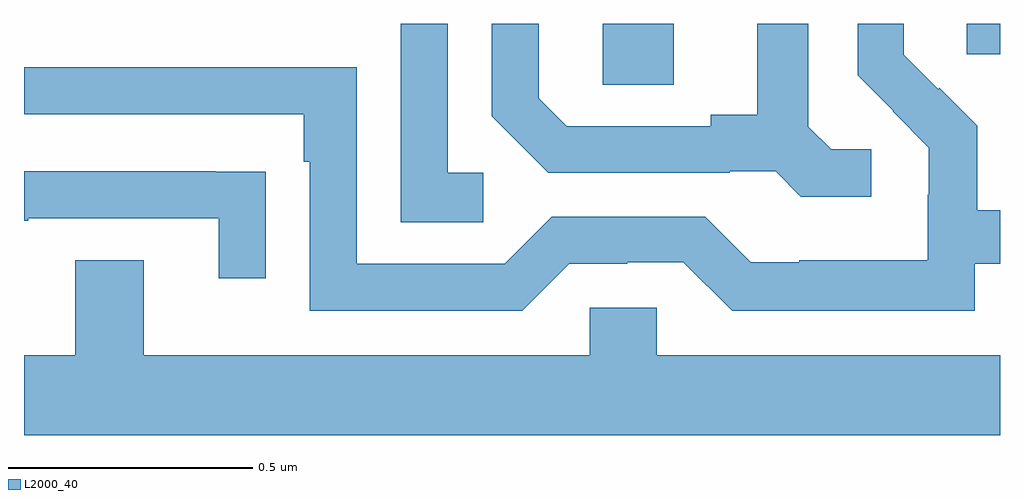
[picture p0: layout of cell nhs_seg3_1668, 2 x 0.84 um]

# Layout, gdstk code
import gdstk
lib = gdstk.Library(unit=1e-6, precision=1e-09)
def R(c, l, rs):  # rectangles x0, y0, x1, y1
    for r in rs: c.add(gdstk.rectangle(r[:2], r[2:], *l))
def P(c, l, *ps):  # polygons
    for p in ps: c.add(gdstk.Polygon(p, *l))
L2000_40 = (2000, 40)

nhs_seg3_1668 = lib.new_cell('nhs_seg3_1668')
R(nhs_seg3_1668, L2000_40, [(132.186,728.275,132.331,728.4), (132.932,728.337,133,728.4)])
P(nhs_seg3_1668, L2000_40, [(132.948,727.908),(133,727.908),(133,728.017),(132.953,728.017),(132.953,728.191),(132.876,728.268),(132.873,728.265),(132.803,728.336),(132.803,728.4),(132.708,728.4),(132.708,728.294),(132.781,728.221),(132.78,728.22),(132.854,728.146),(132.854,728.049),(132.852,728.049),(132.852,727.915),(132.589,727.915),(132.589,727.911),(132.489,727.911),(132.396,728.004),(132.081,728.004),(131.985,727.908),(131.682,727.908),(131.682,728.31),(131,728.31),(131,728.214),(131.573,728.214),(131.573,728.117),(131.586,728.117),(131.586,727.812),(132.021,727.812),(132.117,727.908),(132.236,727.908),(132.236,727.911),(132.351,727.911),(132.451,727.811),(132.948,727.811)],
  [(132.736,728.142),(132.654,728.142),(132.607,728.189),(132.607,728.4),(132.503,728.4),(132.503,728.213),(132.407,728.213),(132.407,728.19),(132.112,728.19),(132.055,728.247),(132.055,728.4),(131.958,728.4),(131.958,728.21),(132.074,728.094),(132.446,728.094),(132.446,728.097),(132.54,728.097),(132.592,728.045),(132.736,728.045)],
  [(131.941,728.094),(131.868,728.094),(131.868,728.4),(131.772,728.4),(131.772,727.993),(131.941,727.993)],
  [(131.495,728.096),(131.393,728.096),(131.393,728.097),(131,728.097),(131,727.996),(131.009,727.996),(131.009,728.001),(131.399,728.001),(131.399,727.878),(131.495,727.878)],
  [(133,727.72),(132.297,727.72),(132.297,727.818),(132.159,727.818),(132.159,727.72),(131.245,727.72),(131.245,727.915),(131.105,727.915),(131.105,727.72),(131,727.72),(131,727.556),(133,727.556)])

lib.write_gds('nhs_seg3_1668.gds')
